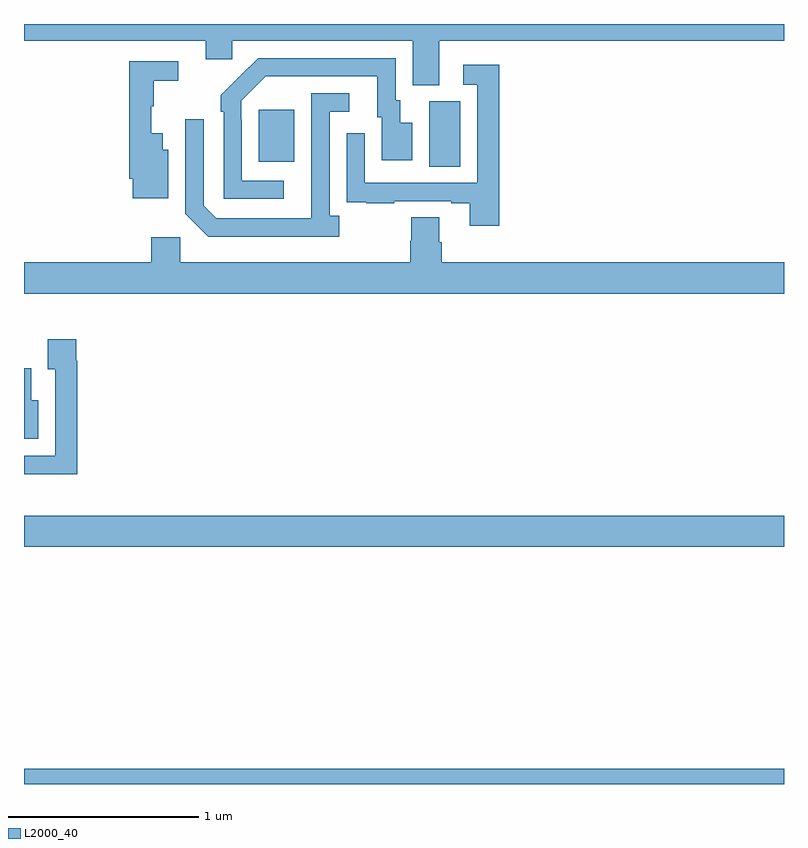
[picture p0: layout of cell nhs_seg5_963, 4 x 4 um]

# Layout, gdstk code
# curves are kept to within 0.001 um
import gdstk
lib = gdstk.Library(unit=1e-6, precision=1e-09)
def R(c, l, rs):  # rectangles x0, y0, x1, y1
    for r in rs: c.add(gdstk.rectangle(r[:2], r[2:], *l))
def P(c, l, *ps):  # polygons
    for p in ps: c.add(gdstk.Polygon(p, *l))
L2000_40 = (2000, 40)

nhs_seg5_963 = lib.new_cell('nhs_seg5_963')
R(nhs_seg5_963, L2000_40, [(171,900.799,175,900.88), (171,902.048,175,902.212), (173.132,904.048,173.296,904.392), (172.235,904.073,172.423,904.348)])
P(nhs_seg5_963, L2000_40, [(173.185,904.712),(175,904.712),(175,904.799),(171,904.799),(171,904.712),(171.956,904.712),(171.956,904.614),(172.095,904.614),(172.095,904.712),(173.045,904.712),(173.045,904.477),(173.185,904.477)],
  [(172.366,903.975),(172.146,903.975),(172.146,904.295),(172.143,904.295),(172.143,904.395),(172.272,904.524),(172.859,904.524),(172.859,904.308),(172.883,904.308),(172.883,904.083),(173.044,904.083),(173.044,904.279),(172.981,904.279),(172.981,904.398),(172.956,904.398),(172.956,904.62),(172.232,904.62),(172.035,904.425),(172.035,904.337),(172.05,904.337),(172.05,903.879),(172.366,903.879)],
  [(171.76,904.138),(171.73,904.138),(171.73,904.225),(171.671,904.225),(171.671,904.365),(171.682,904.365),(171.682,904.501),(171.811,904.501),(171.811,904.602),(171.553,904.602),(171.553,903.985),(171.572,903.985),(171.572,903.881),(171.76,903.881)],
  [(173.501,904.585),(173.313,904.585),(173.313,904.479),(173.385,904.479),(173.385,903.963),(172.794,903.963),(172.794,904.225),(172.698,904.225),(172.698,903.97),(172.699,903.97),(172.699,903.861),(172.801,903.861),(172.801,903.855),(172.949,903.855),(172.949,903.867),(173.249,903.867),(173.249,903.855),(173.345,903.855),(173.345,903.738),(173.501,903.738)],
  [(172.66,903.79),(172.608,903.79),(172.608,904.338),(172.711,904.338),(172.711,904.434),(172.512,904.434),(172.511,903.777),(172.011,903.777),(171.945,903.843),(171.945,904.297),(171.849,904.297),(171.849,903.801),(171.97,903.68),(172.66,903.68)],
  [(175,903.544),(173.198,903.544),(173.198,903.65),(173.185,903.65),(173.185,903.782),(173.038,903.782),(173.038,903.657),(173.033,903.657),(173.033,903.544),(171.822,903.544),(171.822,903.676),(171.671,903.676),(171.671,903.544),(171,903.544),(171,903.38),(175,903.38)],
  [(171.281,903.026),(171.274,903.026),(171.274,903.139),(171.125,903.139),(171.125,902.983),(171.165,902.983),(171.165,902.526),(171,902.526),(171,902.429),(171.281,902.429)],
  [(171.076,902.818),(171.037,902.818),(171.037,902.986),(171,902.986),(171,902.615),(171.076,902.615)])

lib.write_gds('nhs_seg5_963.gds')
